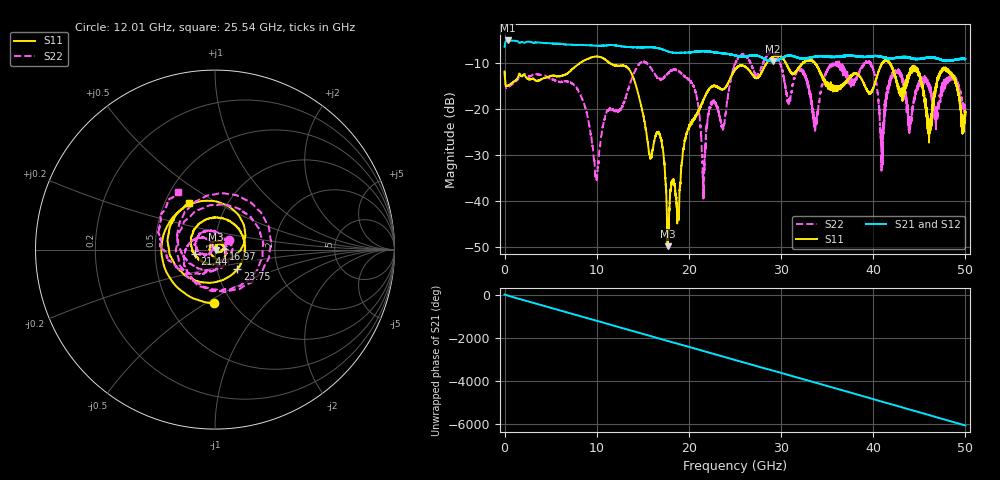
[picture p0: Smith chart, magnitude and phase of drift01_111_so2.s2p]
!Created with skrf (http://scikit-rf.org).
# Hz S RI R 50.0
!freq ReS11 ImS11 ReS21 ImS21 ReS12 ImS12 ReS22 ImS22
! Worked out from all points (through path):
!   10001 points, 300 kHz to 50 GHz, reference 50 ohm
!   highest |S21| = -5.05 dB at 325.3 MHz (marker M1); lowest = -9.6 dB at 29.08 GHz (marker M2)
!   group delay of S21, straight-line fit = 336 ps
!   lowest |S11| = -49.8 dB at 17.69 GHz (marker M3), VSWR 1.01, Z = 50.3 - j0.107 ohm
!   |S11| at or under -10 dB: start of sweep to 8.163 GHz; 11.43 GHz to 28.42 GHz (16.99 GHz wide, 85.3 % of centre); 41.81 GHz to end of sweep (the widest 3 of 12)
!   |S22| runs from -39.4 to -7.7 dB; largest |S21 - S12| = 0.018
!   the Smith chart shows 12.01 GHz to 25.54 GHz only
!   S11 on the Smith chart (normalised r, x): 12.01 GHz: 0.83, -0.54; 16.97 GHz: 1.10, +0.01; 21.44 GHz: 0.79, -0.04; 23.75 GHz: 1.25, -0.28; 25.54 GHz: 0.66, +0.38
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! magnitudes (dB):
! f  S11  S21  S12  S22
! 300 kHz  -11.8  -6.5  -6.5  -11.8
! 325.3 MHz  -15.0  -5.1  -5.1  -15.4
! 8.335 GHz  -9.8  -6.0  -6.0  -17.5
! 9.94 GHz  -8.5  -6.2  -6.2  -34.5
! 12.01 GHz  -10.5  -6.1  -6.2  -20.4
! 16.67 GHz  -24.9  -6.7  -6.7  -13.3
! 16.97 GHz  -26.5  -6.9  -6.9  -13.4
! 17.69 GHz  -49.8  -7.4  -7.4  -12.3
! 20.5 GHz  -22.3  -7.6  -7.5  -15.0
! 21.44 GHz  -18.6  -7.4  -7.4  -29.9
! 22.47 GHz  -15.1  -7.5  -7.5  -19.0
! 23.75 GHz  -15.6  -7.9  -7.9  -23.6
! 25 GHz  -11.4  -8.3  -8.3  -10.2
! 25.54 GHz  -10.6  -8.5  -8.5  -8.4
! 29.08 GHz  -8.6  -9.6  -9.6  -7.7
! 33.34 GHz  -9.4  -8.7  -8.7  -19.0
! 39.5 GHz  -16.4  -8.6  -8.6  -9.9
! 40.95 GHz  -10.2  -8.6  -8.6  -29.2
! 41.67 GHz  -9.6  -8.8  -9.0  -15.2
! 46.1 GHz  -24.1  -8.8  -8.7  -14.7
! 48.01 GHz  -11.4  -9.5  -9.5  -13.8
! 50 GHz  -21.4  -9.1  -9.1  -20.2
